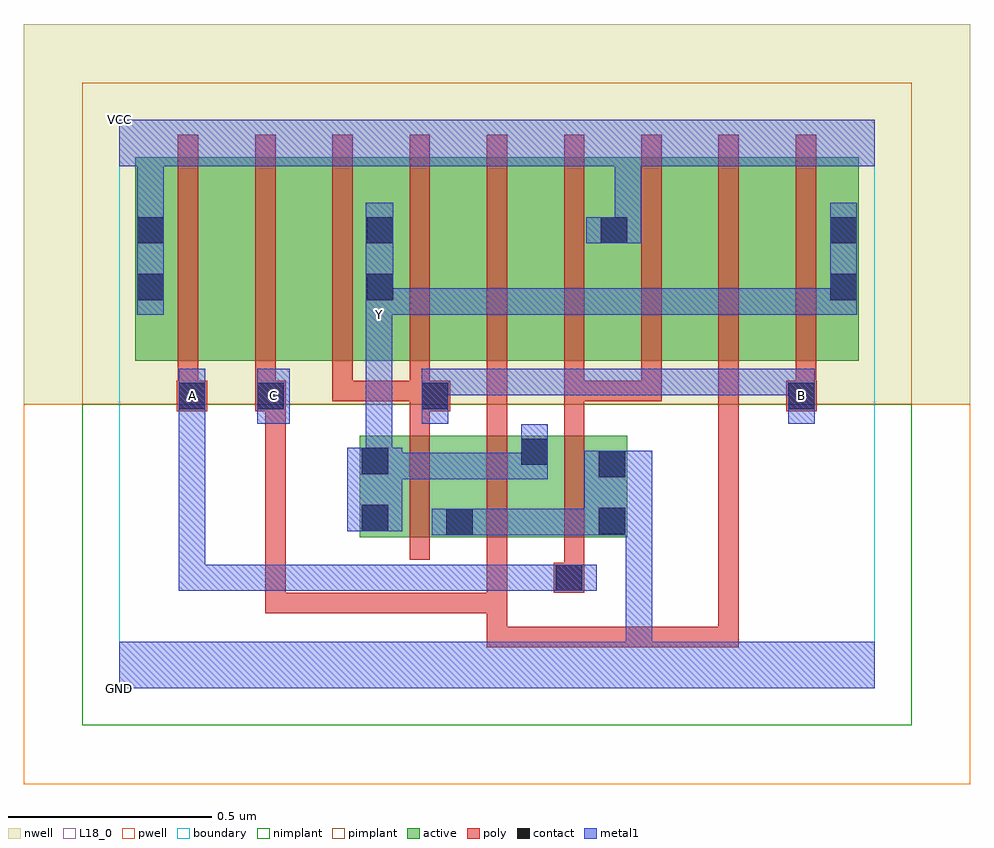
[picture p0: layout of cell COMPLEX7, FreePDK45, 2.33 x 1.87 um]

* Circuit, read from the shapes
.subckt COMPLEX7 A B C GND VCC Y
M1 GND B Y VSUBS nfet w=0.25u l=0.05u
M2 Y C GND VSUBS nfet w=0.25u l=0.05u
M3 GND A Y VSUBS nfet w=0.25u l=0.05u
M4 n1 A VCC n2 pfet w=0.5u l=0.05u
M5 n3 C n1 n2 pfet w=0.5u l=0.05u
M6 Y B n3 n2 pfet w=0.5u l=0.05u
M7 n4 B Y n2 pfet w=0.5u l=0.05u
M8 n5 C n4 n2 pfet w=0.5u l=0.05u
M9 VCC A n5 n2 pfet w=0.5u l=0.05u
M10 n6 A VCC n2 pfet w=0.5u l=0.05u
M11 n7 C n6 n2 pfet w=0.5u l=0.05u
M12 Y B n7 n2 pfet w=0.5u l=0.05u
.ends

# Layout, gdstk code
import gdstk
lib = gdstk.Library(unit=1e-6, precision=1e-09)
def R(c, l, rs):  # rectangles x0, y0, x1, y1
    for r in rs: c.add(gdstk.rectangle(r[:2], r[2:], *l))
def A(c, l, x, y, w, h, nx, ny, dx, dy):  # array of equal rectangles
    R(c, l, [(x+i*dx, y+j*dy, x+i*dx+w, y+j*dy+h) for i in range(nx) for j in range(ny)])
active = (1, 0)
pwell = (2, 0)
nwell = (3, 0)
nimplant = (4, 0)
pimplant = (5, 0)
poly = (9, 0)
contact = (10, 0)
metal1 = (11, 0)
L18_0 = (18, 0)
boundary = (235, 0)

complex7 = lib.new_cell('COMPLEX7')
A(complex7, active, 0.265, 0.807, 0.19, 0.5, 3, 1, 0.57, 0)
R(complex7, active, [(0.592,0.372,0.875,0.622), (0.8,0.372,1.06,0.622), (0.8,0.372,0.875,0.497), (0.985,0.372,1.25,0.622), (1.175,0.372,1.25,0.622), (0.592,0.382,0.667,0.622), (0.985,0.395,1.06,0.62), (0.04,0.807,0.265,1.307), (0.04,0.807,0.115,1.307), (0.455,0.807,0.68,1.307), (0.605,0.807,0.68,1.2), (0.605,0.807,0.835,1.307), (1.025,0.807,1.255,1.307), (1.18,0.807,1.405,1.307), (1.18,0.807,1.255,1.307), (1.595,0.807,1.82,1.307), (1.745,0.807,1.82,1.2)])
R(complex7, pwell, [(-0.235,-0.235,2.095,0.7)])
R(complex7, nwell, [(-0.235,0.7,2.095,1.635)])
R(complex7, nimplant, [(-0.09,-0.09,1.95,0.7)])
R(complex7, pimplant, [(-0.09,0.7,1.95,1.49)])
A(complex7, poly, 0.715, 0.317, 0.05, 0.36, 3, 1, 0.19, 0)
A(complex7, poly, 0.145, 0.707, 0.05, 0.095, 4, 1, 0.19, 0)
A(complex7, poly, 0.145, 0.752, 0.05, 0.61, 9, 1, 0.19, 0)
R(complex7, poly, [(0.905,0.102,0.955,0.152), (0.905,0.102,0.955,0.152), (0.905,0.102,0.955,0.152), (0.905,0.102,1.152,0.152), (0.905,0.102,0.955,0.235), (1.102,0.102,1.152,0.152), (1.102,0.102,1.152,0.152), (1.102,0.102,1.152,0.152), (1.102,0.102,1.285,0.152), (1.235,0.102,1.285,0.152), (1.235,0.102,1.285,0.152), (1.235,0.102,1.285,0.152), (1.235,0.102,1.285,0.152), (1.235,0.102,1.285,0.152), (1.235,0.102,1.525,0.152), (1.475,0.102,1.525,0.802), (1.475,0.102,1.525,0.152), (1.475,0.102,1.525,0.152), (1.475,0.102,1.525,0.152), (1.475,0.102,1.525,0.152), (1.475,0.102,1.525,0.152), (1.475,0.102,1.525,0.152), (1.475,0.102,1.525,0.152), (0.36,0.185,0.41,0.235), (0.36,0.185,0.41,0.235), (0.36,0.185,0.41,0.235), (0.36,0.185,0.542,0.235), (0.36,0.185,0.41,0.732), (0.492,0.185,0.542,0.235), (0.492,0.185,0.542,0.235), (0.492,0.185,0.542,0.235), (0.492,0.185,0.542,0.235), (0.492,0.185,0.542,0.235), (0.492,0.185,0.707,0.235), (0.657,0.185,0.707,0.235), (0.657,0.185,0.707,0.235), (0.657,0.185,0.707,0.235), (0.657,0.185,0.955,0.235), (0.905,0.185,0.955,0.235), (0.905,0.185,0.955,0.367), (1.07,0.235,1.145,0.31), (1.095,0.26,1.145,0.367), (0.715,0.627,0.765,0.732), (0.905,0.627,0.955,0.722), (1.095,0.627,1.145,0.757), (0.905,0.672,0.955,0.722), (0.905,0.672,0.955,0.802), (0.142,0.682,0.217,0.757), (0.335,0.682,0.41,0.757), (0.36,0.682,0.41,0.732), (0.36,0.682,0.41,0.732), (0.715,0.682,0.815,0.757), (1.642,0.682,1.717,0.757), (0.525,0.707,0.575,0.757), (0.525,0.707,0.575,0.757), (0.525,0.707,0.575,0.757), (0.525,0.707,0.765,0.757), (1.095,0.707,1.145,0.802), (1.095,0.707,1.145,0.757), (1.095,0.707,1.335,0.757), (1.285,0.707,1.335,0.802), (1.285,0.707,1.335,0.757), (1.285,0.707,1.335,0.757), (1.285,0.707,1.335,0.757), (1.665,0.707,1.715,0.802)])
R(complex7, contact, [(1.075,0.24,1.14,0.305), (0.805,0.377,0.87,0.442), (1.18,0.38,1.245,0.445), (0.597,0.387,0.662,0.452), (1.18,0.52,1.245,0.585), (0.597,0.527,0.662,0.592), (0.99,0.55,1.055,0.615), (0.147,0.687,0.212,0.752), (0.34,0.687,0.405,0.752), (0.745,0.687,0.81,0.752), (1.647,0.687,1.712,0.752), (0.045,0.955,0.11,1.02), (0.61,0.955,0.675,1.02), (1.75,0.955,1.815,1.02), (0.045,1.095,0.11,1.16), (0.61,1.095,0.675,1.16), (1.185,1.095,1.25,1.16), (1.75,1.095,1.815,1.16)])
R(complex7, metal1, [(0,0,1.86,0.115), (1.247,0.05,1.312,0.115), (1.247,0.05,1.312,0.115), (1.247,0.05,1.312,0.115), (1.247,0.05,1.312,0.115), (1.247,0.05,1.312,0.442), (0.147,0.24,0.212,0.305), (0.147,0.24,0.35,0.305), (0.147,0.24,0.212,0.717), (0.285,0.24,0.35,0.305), (0.285,0.24,0.35,0.305), (0.285,0.24,0.35,0.305), (0.285,0.24,0.35,0.305), (0.285,0.24,0.35,0.305), (0.285,0.24,0.487,0.305), (0.422,0.24,0.487,0.305), (0.422,0.24,0.487,0.305), (0.422,0.24,0.487,0.305), (0.422,0.24,0.487,0.305), (0.422,0.24,0.487,0.305), (0.422,0.24,0.625,0.305), (0.56,0.24,0.625,0.305), (0.56,0.24,0.835,0.305), (0.77,0.24,0.835,0.305), (0.77,0.24,0.967,0.305), (0.902,0.24,0.967,0.305), (0.902,0.24,1.042,0.305), (0.977,0.24,1.042,0.305), (0.977,0.24,1.105,0.305), (1.04,0.24,1.175,0.305), (0.77,0.377,0.905,0.442), (0.84,0.377,0.967,0.442), (0.902,0.377,0.967,0.442), (0.902,0.377,1.072,0.442), (1.007,0.377,1.072,0.442), (1.007,0.377,1.21,0.442), (1.145,0.377,1.21,0.442), (1.145,0.377,1.21,0.442), (1.145,0.377,1.312,0.585), (1.247,0.377,1.312,0.442), (1.247,0.377,1.312,0.442), (0.562,0.387,0.697,0.592), (0.632,0.515,0.697,0.58), (0.632,0.515,0.697,0.58), (0.632,0.515,0.835,0.58), (0.77,0.515,0.835,0.58), (0.77,0.515,0.967,0.58), (0.902,0.515,0.967,0.58), (0.902,0.515,1.055,0.58), (0.99,0.515,1.055,0.65), (0.607,0.527,0.672,0.917), (0.147,0.652,0.212,0.717), (0.147,0.652,0.212,0.717), (0.147,0.652,0.212,0.787), (0.34,0.652,0.42,0.787), (0.745,0.652,0.81,0.787), (1.647,0.652,1.712,0.787), (0.745,0.722,0.835,0.787), (0.77,0.722,0.835,0.787), (0.77,0.722,0.967,0.787), (0.902,0.722,0.967,0.787), (0.902,0.722,1.042,0.787), (0.977,0.722,1.042,0.787), (0.977,0.722,1.21,0.787), (1.145,0.722,1.21,0.787), (1.145,0.722,1.21,0.787), (1.145,0.722,1.21,0.787), (1.145,0.722,1.437,0.787), (1.372,0.722,1.437,0.787), (1.372,0.722,1.437,0.787), (1.372,0.722,1.437,0.787), (1.372,0.722,1.575,0.787), (1.51,0.722,1.575,0.787), (1.51,0.722,1.575,0.787), (1.51,0.722,1.575,0.787), (1.51,0.722,1.712,0.787), (0.607,0.852,0.672,0.987), (0.045,0.92,0.11,1.195), (0.607,0.92,0.672,0.985), (0.607,0.92,0.675,1.195), (0.61,0.92,0.675,0.985), (0.61,0.92,0.675,0.985), (0.61,0.92,0.835,0.985), (0.77,0.92,0.835,0.985), (0.77,0.92,0.967,0.985), (0.902,0.92,0.967,0.985), (0.902,0.92,1.042,0.985), (0.977,0.92,1.042,0.985), (0.977,0.92,1.3,0.985), (1.235,0.92,1.3,0.985), (1.235,0.92,1.3,0.985), (1.235,0.92,1.3,0.985), (1.235,0.92,1.437,0.985), (1.372,0.92,1.437,0.985), (1.372,0.92,1.437,0.985), (1.372,0.92,1.437,0.985), (1.372,0.92,1.575,0.985), (1.51,0.92,1.575,0.985), (1.51,0.92,1.575,0.985), (1.51,0.92,1.575,0.985), (1.51,0.92,1.815,0.985), (1.75,0.92,1.815,0.985), (1.75,0.92,1.815,0.985), (1.75,0.92,1.815,1.195), (1.15,1.095,1.285,1.16), (1.22,1.095,1.285,1.35), (0.045,1.13,0.11,1.35), (0,1.285,1.86,1.4)])
R(complex7, L18_0, [(0,0,1.86,0.115), (1.247,0.05,1.312,0.115), (1.247,0.05,1.312,0.115), (1.247,0.05,1.312,0.115), (1.247,0.05,1.312,0.115), (1.247,0.05,1.312,0.442), (0.147,0.24,0.212,0.305), (0.147,0.24,0.212,0.717), (0.147,0.24,0.35,0.305), (0.285,0.24,0.35,0.305), (0.285,0.24,0.35,0.305), (0.285,0.24,0.35,0.305), (0.285,0.24,0.35,0.305), (0.285,0.24,0.35,0.305), (0.285,0.24,0.487,0.305), (0.422,0.24,0.487,0.305), (0.422,0.24,0.487,0.305), (0.422,0.24,0.487,0.305), (0.422,0.24,0.487,0.305), (0.422,0.24,0.487,0.305), (0.422,0.24,0.625,0.305), (0.56,0.24,0.625,0.305), (0.56,0.24,0.835,0.305), (0.77,0.24,0.835,0.305), (0.77,0.24,0.967,0.305), (0.902,0.24,0.967,0.305), (0.902,0.24,1.042,0.305), (0.977,0.24,1.042,0.305), (0.977,0.24,1.105,0.305), (1.04,0.24,1.175,0.305), (0.77,0.377,0.905,0.442), (0.84,0.377,0.967,0.442), (0.902,0.377,0.967,0.442), (0.902,0.377,1.072,0.442), (1.007,0.377,1.072,0.442), (1.007,0.377,1.21,0.442), (1.145,0.377,1.21,0.442), (1.145,0.377,1.21,0.442), (1.145,0.377,1.312,0.585), (1.247,0.377,1.312,0.442), (1.247,0.377,1.312,0.442), (0.562,0.387,0.697,0.592), (0.632,0.515,0.697,0.58), (0.632,0.515,0.697,0.58), (0.632,0.515,0.835,0.58), (0.77,0.515,0.835,0.58), (0.77,0.515,0.967,0.58), (0.902,0.515,0.967,0.58), (0.902,0.515,1.055,0.58), (0.99,0.515,1.055,0.65), (0.607,0.527,0.672,0.917), (0.147,0.652,0.212,0.787), (0.147,0.652,0.212,0.717), (0.147,0.652,0.212,0.717), (0.34,0.652,0.42,0.787), (0.745,0.652,0.81,0.787), (1.647,0.652,1.712,0.787), (0.147,0.687,0.212,0.752), (0.347,0.687,0.412,0.752), (1.647,0.687,1.712,0.752), (0.745,0.722,0.835,0.787), (0.77,0.722,0.835,0.787), (0.77,0.722,0.967,0.787), (0.902,0.722,0.967,0.787), (0.902,0.722,1.042,0.787), (0.977,0.722,1.042,0.787), (0.977,0.722,1.21,0.787), (1.145,0.722,1.21,0.787), (1.145,0.722,1.21,0.787), (1.145,0.722,1.21,0.787), (1.145,0.722,1.437,0.787), (1.372,0.722,1.437,0.787), (1.372,0.722,1.437,0.787), (1.372,0.722,1.437,0.787), (1.372,0.722,1.575,0.787), (1.51,0.722,1.575,0.787), (1.51,0.722,1.575,0.787), (1.51,0.722,1.575,0.787), (1.51,0.722,1.712,0.787), (0.607,0.852,0.672,0.987), (0.607,0.887,0.672,0.952), (0.045,0.92,0.11,1.195), (0.607,0.92,0.672,0.985), (0.607,0.92,0.675,1.195), (0.61,0.92,0.675,0.985), (0.61,0.92,0.675,0.985), (0.61,0.92,0.835,0.985), (0.77,0.92,0.835,0.985), (0.77,0.92,0.967,0.985), (0.902,0.92,0.967,0.985), (0.902,0.92,1.042,0.985), (0.977,0.92,1.042,0.985), (0.977,0.92,1.3,0.985), (1.235,0.92,1.3,0.985), (1.235,0.92,1.3,0.985), (1.235,0.92,1.3,0.985), (1.235,0.92,1.437,0.985), (1.372,0.92,1.437,0.985), (1.372,0.92,1.437,0.985), (1.372,0.92,1.437,0.985), (1.372,0.92,1.575,0.985), (1.51,0.92,1.575,0.985), (1.51,0.92,1.575,0.985), (1.51,0.92,1.575,0.985), (1.51,0.92,1.815,0.985), (1.75,0.92,1.815,1.195), (1.75,0.92,1.815,0.985), (1.75,0.92,1.815,0.985), (1.15,1.095,1.285,1.16), (1.22,1.095,1.285,1.35), (0.045,1.13,0.11,1.35), (0,1.285,1.86,1.4)])
R(complex7, boundary, [(0,0,1.86,1.4)])
complex7.add(gdstk.Label('A', (0.18,0.72), layer=11, texttype=0))
complex7.add(gdstk.Label('B', (1.68,0.72), layer=11, texttype=0))
complex7.add(gdstk.Label('C', (0.38,0.72), layer=11, texttype=0))
complex7.add(gdstk.Label('Y', (0.64,0.92), layer=11, texttype=0))
complex7.add(gdstk.Label('VCC', (0,1.4), layer=11, texttype=0))
complex7.add(gdstk.Label('GND', (0,0), layer=11, texttype=0))

lib.write_gds('COMPLEX7.gds')
